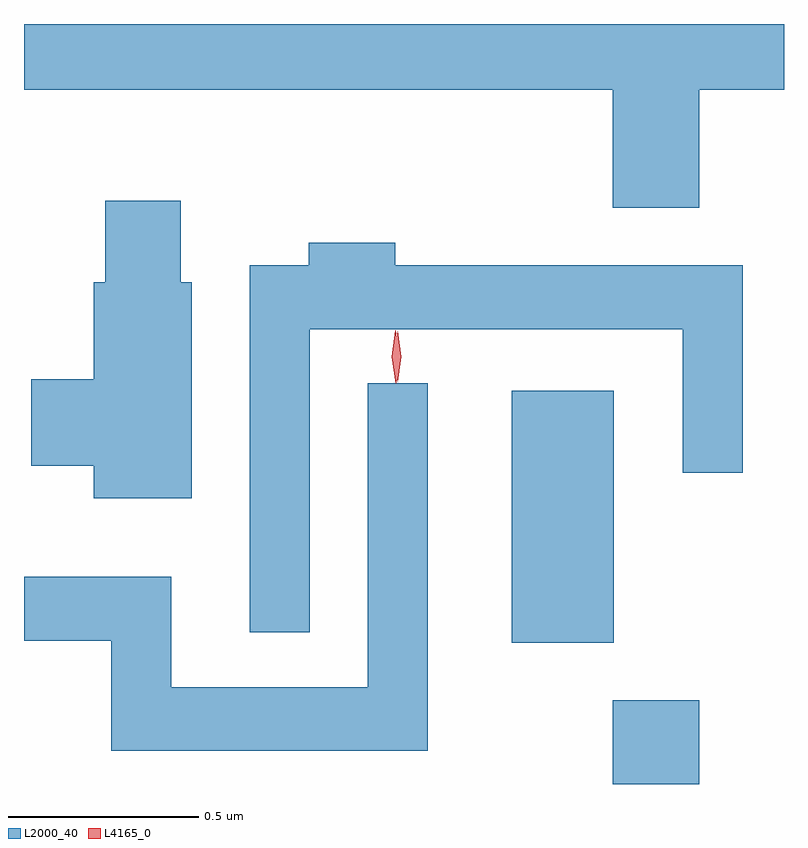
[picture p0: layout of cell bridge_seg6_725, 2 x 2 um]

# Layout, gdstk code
import gdstk
lib = gdstk.Library(unit=1e-6, precision=1e-09)
def R(c, l, rs):  # rectangles x0, y0, x1, y1
    for r in rs: c.add(gdstk.rectangle(r[:2], r[2:], *l))
def P(c, l, *ps):  # polygons
    for p in ps: c.add(gdstk.Polygon(p, *l))
L2000_40 = (2000, 40)
L4165_0 = (4165, 0)

bridge_seg6_725 = lib.new_cell('bridge_seg6_725')
R(bridge_seg6_725, L2000_40, [(311.351,1581.509,311.579,1581.729), (311.086,1581.881,311.354,1582.544)])
P(bridge_seg6_725, L2000_40, [(311.579,1583.336),(311.802,1583.336),(311.802,1583.509),(309.802,1583.509),(309.802,1583.336),(311.351,1583.336),(311.351,1583.026),(311.579,1583.026)],
  [(310.244,1582.829),(310.214,1582.829),(310.214,1583.044),(310.016,1583.044),(310.016,1582.829),(309.986,1582.829),(309.986,1582.574),(309.821,1582.574),(309.821,1582.346),(309.986,1582.346),(309.986,1582.261),(310.244,1582.261)],
  [(310.554,1582.706),(311.536,1582.706),(311.536,1582.328),(311.694,1582.328),(311.694,1582.874),(310.779,1582.874),(310.779,1582.934),(310.551,1582.934),(310.551,1582.874),(310.396,1582.874),(310.396,1581.908),(310.554,1581.908)],
  [(310.864,1582.563),(310.706,1582.563),(310.706,1581.764),(310.189,1581.764),(310.189,1582.054),(309.802,1582.054),(309.802,1581.886),(310.031,1581.886),(310.031,1581.596),(310.864,1581.596)])
P(bridge_seg6_725, L4165_0, [(310.785,1582.567),(310.785,1582.568),(310.775,1582.634),(310.785,1582.7),(310.785,1582.701),(310.786,1582.7),(310.795,1582.634),(310.786,1582.568)],
  [(310.78,1582.563),(310.78,1582.564),(310.77,1582.633),(310.779,1582.702),(310.78,1582.703),(310.78,1582.702),(310.79,1582.633),(310.781,1582.564)])

lib.write_gds('bridge_seg6_725.gds')
